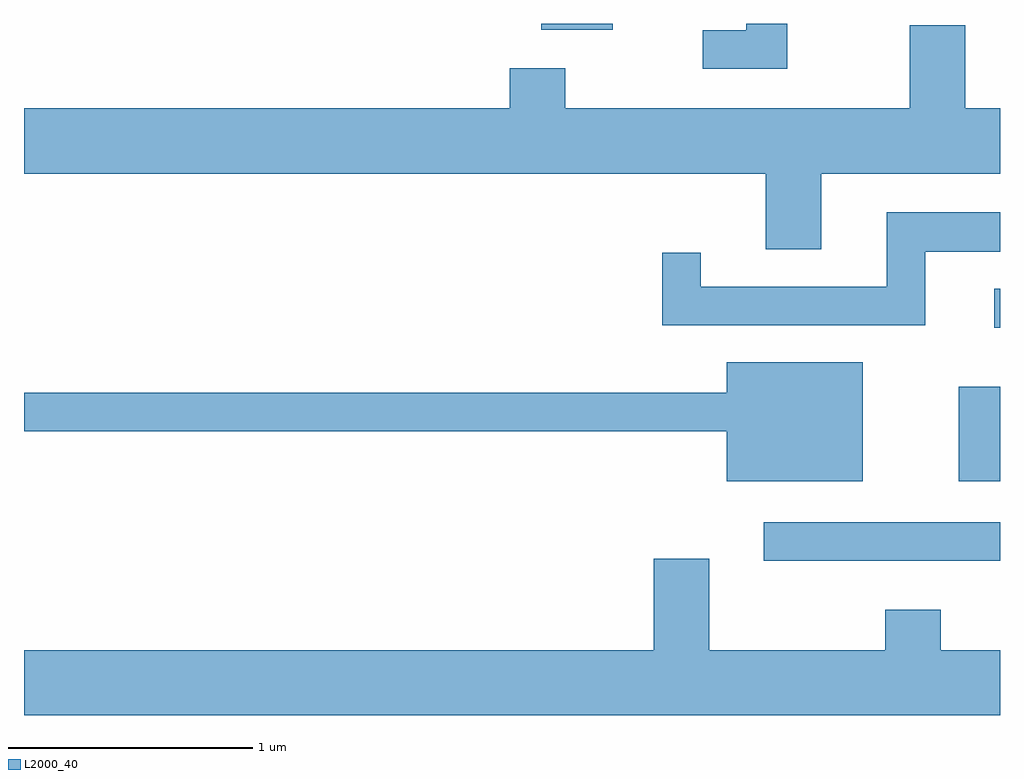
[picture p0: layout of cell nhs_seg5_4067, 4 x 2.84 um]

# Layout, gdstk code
import gdstk
lib = gdstk.Library(unit=1e-6, precision=1e-09)
def R(c, l, rs):  # rectangles x0, y0, x1, y1
    for r in rs: c.add(gdstk.rectangle(r[:2], r[2:], *l))
def P(c, l, *ps):  # polygons
    for p in ps: c.add(gdstk.Polygon(p, *l))
L2000_40 = (2000, 40)

nhs_seg5_4067 = lib.new_cell('nhs_seg5_4067')
R(nhs_seg5_4067, L2000_40, [(308.643,1461.871,309.611,1462.029), (309.441,1462.196,309.611,1462.584), (309.588,1462.826,309.611,1462.984), (307.731,1464.046,308.024,1464.072)])
P(nhs_seg5_4067, L2000_40, [(308.739,1464.072),(308.571,1464.072),(308.571,1464.044),(308.393,1464.044),(308.393,1463.886),(308.739,1463.886)],
  [(308.879,1463.456),(309.611,1463.456),(309.611,1463.724),(309.469,1463.724),(309.469,1464.064),(309.241,1464.064),(309.241,1463.724),(307.829,1463.724),(307.829,1463.889),(307.601,1463.889),(307.601,1463.724),(305.611,1463.724),(305.611,1463.456),(308.651,1463.456),(308.651,1463.146),(308.879,1463.146)],
  [(309.304,1463.136),(309.611,1463.136),(309.611,1463.299),(309.146,1463.299),(309.146,1462.994),(308.384,1462.994),(308.384,1463.133),(308.226,1463.133),(308.226,1462.836),(309.304,1462.836)],
  [(309.049,1462.684),(308.491,1462.684),(308.491,1462.559),(305.611,1462.559),(305.611,1462.401),(308.491,1462.401),(308.491,1462.196),(309.049,1462.196)],
  [(309.611,1461.504),(309.369,1461.504),(309.369,1461.669),(309.141,1461.669),(309.141,1461.504),(308.419,1461.504),(308.419,1461.879),(308.191,1461.879),(308.191,1461.504),(305.611,1461.504),(305.611,1461.236),(309.611,1461.236)])

lib.write_gds('nhs_seg5_4067.gds')
